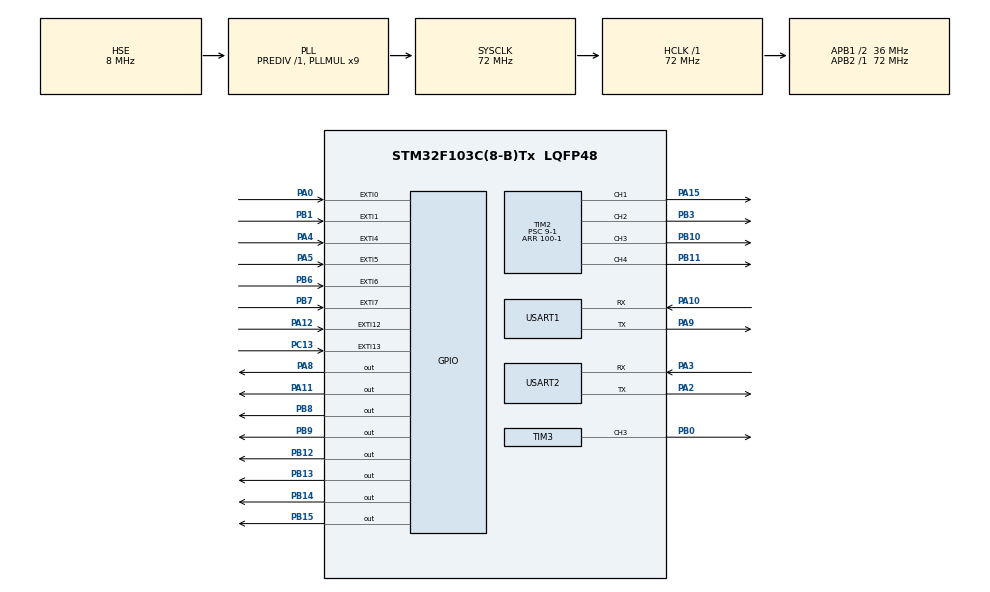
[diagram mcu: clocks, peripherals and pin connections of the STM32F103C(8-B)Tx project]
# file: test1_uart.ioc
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Dma.Request0=USART1_RX
Dma.Request1=USART1_TX
Dma.Request2=USART2_RX
Dma.Request3=USART2_TX
Dma.USART1_RX.0.Direction=DMA_PERIPH_TO_MEMORY
Dma.USART1_RX.0.Instance=DMA1_Channel5
Dma.USART1_RX.0.MemDataAlignment=DMA_MDATAALIGN_BYTE
Dma.USART1_RX.0.MemInc=DMA_MINC_ENABLE
Dma.USART1_RX.0.Mode=DMA_NORMAL
Dma.USART1_RX.0.PeriphDataAlignment=DMA_PDATAALIGN_BYTE
Dma.USART1_RX.0.PeriphInc=DMA_PINC_DISABLE
Dma.USART1_RX.0.Priority=DMA_PRIORITY_LOW
Dma.USART1_TX.1.Direction=DMA_MEMORY_TO_PERIPH
Dma.USART1_TX.1.Instance=DMA1_Channel4
Dma.USART1_TX.1.MemDataAlignment=DMA_MDATAALIGN_BYTE
Dma.USART1_TX.1.MemInc=DMA_MINC_ENABLE
Dma.USART1_TX.1.Mode=DMA_NORMAL
Dma.USART1_TX.1.PeriphDataAlignment=DMA_PDATAALIGN_BYTE
Dma.USART1_TX.1.PeriphInc=DMA_PINC_DISABLE
Dma.USART1_TX.1.Priority=DMA_PRIORITY_LOW
Dma.USART2_RX.2.Direction=DMA_PERIPH_TO_MEMORY
Dma.USART2_RX.2.Instance=DMA1_Channel6
Dma.USART2_RX.2.MemDataAlignment=DMA_MDATAALIGN_BYTE
Dma.USART2_RX.2.MemInc=DMA_MINC_ENABLE
Dma.USART2_RX.2.Mode=DMA_NORMAL
Dma.USART2_RX.2.PeriphDataAlignment=DMA_PDATAALIGN_BYTE
Dma.USART2_RX.2.PeriphInc=DMA_PINC_DISABLE
Dma.USART2_RX.2.Priority=DMA_PRIORITY_LOW
Dma.USART2_TX.3.Direction=DMA_MEMORY_TO_PERIPH
Dma.USART2_TX.3.Instance=DMA1_Channel7
Dma.USART2_TX.3.MemDataAlignment=DMA_MDATAALIGN_BYTE
Dma.USART2_TX.3.MemInc=DMA_MINC_ENABLE
Dma.USART2_TX.3.Mode=DMA_NORMAL
Dma.USART2_TX.3.PeriphDataAlignment=DMA_PDATAALIGN_BYTE
Dma.USART2_TX.3.PeriphInc=DMA_PINC_DISABLE
Dma.USART2_TX.3.Priority=DMA_PRIORITY_LOW
Mcu.Family=STM32F1
Mcu.Name=STM32F103C(8-B)Tx
Mcu.Package=LQFP48
NVIC.DMA1_Channel4_IRQn=true\:0\:0\:false\:false\:true\:false\:true
NVIC.DMA1_Channel5_IRQn=true\:0\:0\:false\:false\:true\:false\:true
NVIC.DMA1_Channel6_IRQn=true\:0\:0\:false\:false\:true\:false\:true
NVIC.DMA1_Channel7_IRQn=true\:0\:0\:false\:false\:true\:false\:true
NVIC.EXTI0_IRQn=true\:1\:0\:true\:false\:true\:true\:true
NVIC.EXTI15_10_IRQn=true\:1\:0\:true\:false\:true\:true\:true
NVIC.EXTI1_IRQn=true\:1\:0\:true\:false\:true\:true\:true
NVIC.EXTI4_IRQn=true\:1\:0\:true\:false\:true\:true\:true
NVIC.EXTI9_5_IRQn=true\:1\:0\:true\:false\:true\:true\:true
NVIC.PVD_IRQn=true\:0\:0\:false\:false\:true\:true\:true
NVIC.PriorityGroup=NVIC_PRIORITYGROUP_4
NVIC.RCC_IRQn=true\:0\:0\:false\:false\:true\:true\:false
NVIC.TIM1_BRK_IRQn=true\:0\:0\:false\:false\:true\:true\:true
NVIC.TIM1_CC_IRQn=true\:0\:0\:false\:false\:true\:true\:true
NVIC.TIM1_TRG_COM_IRQn=true\:0\:0\:false\:false\:true\:true\:true
NVIC.TIM1_UP_IRQn=true\:0\:0\:false\:false\:true\:true\:true
NVIC.TIM2_IRQn=true\:0\:0\:false\:false\:true\:true\:true
NVIC.TIM3_IRQn=true\:0\:0\:false\:false\:true\:true\:true
NVIC.TIM4_IRQn=true\:0\:0\:false\:false\:true\:true\:true
NVIC.USART1_IRQn=true\:0\:0\:true\:false\:true\:true\:true
NVIC.USART2_IRQn=true\:0\:0\:true\:false\:true\:true\:true
PA0-WKUP.Signal=GPXTI0
PA10.Mode=Asynchronous
PA10.Signal=USART1_RX
PA11.Signal=GPIO_Output
PA12.Signal=GPXTI12
PA13.Mode=Serial_Wire
PA13.Signal=SYS_JTMS-SWDIO
PA14.Mode=Serial_Wire
PA14.Signal=SYS_JTCK-SWCLK
PA15.Signal=S_TIM2_CH1_ETR
PA2.Mode=Asynchronous
PA2.Signal=USART2_TX
PA3.Mode=Asynchronous
PA3.Signal=USART2_RX
PA4.Signal=GPXTI4
PA5.Signal=GPXTI5
PA8.Signal=GPIO_Output
PA9.Mode=Asynchronous
PA9.Signal=USART1_TX
PB0.Signal=S_TIM3_CH3
PB1.Signal=GPXTI1
PB10.Signal=S_TIM2_CH3
PB11.Signal=S_TIM2_CH4
PB12.Signal=GPIO_Output
PB13.Signal=GPIO_Output
PB14.Signal=GPIO_Output
PB15.Signal=GPIO_Output
PB3.Signal=S_TIM2_CH2
PB6.Signal=GPXTI6
PB7.Signal=GPXTI7
PB8.Signal=GPIO_Output
PB9.Signal=GPIO_Output
PC13-TAMPER-RTC.Signal=GPXTI13
PD0-OSC_IN.Mode=HSE-External-Oscillator
PD0-OSC_IN.Signal=RCC_OSC_IN
PD1-OSC_OUT.Mode=HSE-External-Oscillator
PD1-OSC_OUT.Signal=RCC_OSC_OUT
ProjectManager.HeapSize=0x200
ProjectManager.StackSize=0x400
ProjectManager.TargetToolchain=MDK-ARM V5.32
RCC.AHBFreq_Value=72000000
RCC.APB1CLKDivider=RCC_HCLK_DIV2
RCC.APB1Freq_Value=36000000
RCC.APB1TimFreq_Value=72000000
RCC.APB2Freq_Value=72000000
RCC.APB2TimFreq_Value=72000000
RCC.HCLKFreq_Value=72000000
RCC.PLLMUL=RCC_PLL_MUL9
RCC.PLLSourceVirtual=RCC_PLLSOURCE_HSE
RCC.SYSCLKFreq_VALUE=72000000
RCC.SYSCLKSource=RCC_SYSCLKSOURCE_PLLCLK
RCC.USBFreq_Value=72000000
SH.S_TIM2_CH1_ETR.0=TIM2_CH1,PWM Generation1 CH1
SH.S_TIM2_CH2.0=TIM2_CH2,PWM Generation2 CH2
SH.S_TIM2_CH3.0=TIM2_CH3,PWM Generation3 CH3
SH.S_TIM2_CH4.0=TIM2_CH4,PWM Generation4 CH4
SH.S_TIM3_CH3.0=TIM3_CH3,PWM Generation3 CH3
TIM1.Period=5000-1
TIM1.Prescaler=720-1
TIM2.Channel-PWM\ Generation1\ CH1=TIM_CHANNEL_1
TIM2.Channel-PWM\ Generation2\ CH2=TIM_CHANNEL_2
TIM2.Channel-PWM\ Generation3\ CH3=TIM_CHANNEL_3
TIM2.Channel-PWM\ Generation4\ CH4=TIM_CHANNEL_4
TIM2.Period=100-1
TIM2.Prescaler=9-1
TIM3.Channel-PWM\ Generation3\ CH3=TIM_CHANNEL_3
TIM3.Period=2000-1
TIM3.Prescaler=720-1
TIM4.Period=1000-1
TIM4.Prescaler=720-1
USART1.VirtualMode=VM_ASYNC
USART2.VirtualMode=VM_ASYNC
VP_TIM1_VS_ClockSourceINT.Mode=Internal
VP_TIM2_VS_ClockSourceINT.Mode=Internal
VP_TIM3_VS_ClockSourceINT.Mode=Internal
VP_TIM4_VS_ClockSourceINT.Mode=Internal
board=custom

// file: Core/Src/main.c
/* USER CODE BEGIN Header */
/**
  ******************************************************************************
  * @file           : main.c
  * @brief          : Main program body
  ******************************************************************************
  * @attention
  *
  * <h2><center>&copy; Copyright (c) 2024 STMicroelectronics.
  * All rights reserved.</center></h2>
  *
  * This software component is licensed by ST under BSD 3-Clause license,
  * the "License"; You may not use this file except in compliance with the
  * License. You may obtain a copy of the License at:
  *                        opensource.org/licenses/BSD-3-Clause
  *
  ******************************************************************************
  */
/* USER CODE END Header */
#include "main.h"
#include "dma.h"
#include "tim.h"
#include "usart.h"
#include "gpio.h"

/* USER CODE BEGIN Includes */

#include "esp32.h"

#include "encode.h"

#include "pid.h"

#include "linear velocity.h"

#include "motor.h"

#include "setpwm.h"

#include "omega.h"

#include "gpu.h"
/* USER CODE END Includes */

void SystemClock_Config(void);

/* USER CODE BEGIN 0 */

usart_1 esp32_instance;

usart_1 *esp32=&esp32_instance;

usart_2 gpu_instance;

usart_2 *gpu=&gpu_instance;

uint8_t receive_data[20];

uint8_t gpu_data[20];

void HAL_UART_RxCpltCallback(UART_HandleTypeDef *huart)
{
 /* Prevent unused argument(s) compilation warning */
 if(huart->Instance==USART1)
	{
		if(receive_data[0]==0XA5&&receive_data[4]==0X5A)
		{
		Parse_esp32(esp32,receive_data);
		}else{
		HAL_NVIC_SystemReset();
		}
		HAL_UART_Receive_DMA(&huart1,receive_data,5);
	}
   if(huart->Instance==USART2)
	{
		if(gpu_data[0]==0XA5&&gpu_data[3]==0X5A)
		{

		Parse_gpu(gpu,gpu_data);

		}
		HAL_UART_Receive_DMA(&huart2,gpu_data,4);
	}
 /* NOTE: This function should not be modified, when the callback is needed,
          the HAL_UART_RxCpltCallback could be implemented in the user file
  */
}
uint8_t test_data[5]={0};

int32_t encoder_count[4]={0};

int32_t prev_encoder_count[4]={0};

int32_t delta_count[4];

IncrementalPID pid[4]={
	IncrementalPID(3.7f, 0.118f, 0.01f,-1900.0f, 1900.0f),
	IncrementalPID(2.7f, 1.2f, 0.01f,-1900.0f, 1900.0f),
	IncrementalPID(3.5f, 0.50f, 0.01f,-1900.0f, 1900.0f),
	IncrementalPID(2.0f, 0.1f, 0.05f, -1900.0f, 1900.0f)
};

FourWheelDrive car(300, 217, 1900); // 车长，轮距，最大速度，mm

float pwm_lf=0,pwm_rf=0,pwm_lr=0,pwm_rr=0;

float v_measured[4]={0};

float rps[4]={0};

// float steering_angle =PI/2;  //角度

float omega=5.5*((float)esp32_instance.location_x-100.0);

float linear_speed = 0;//;1700*((float)esp32_instance.location_y-100.0);  //线速度mm/s

float v_lf=0, v_rf=0, v_lr=0, v_rr=0; // 前后左右

void HAL_TIM_PeriodElapsedCallback(TIM_HandleTypeDef *htim)
{
    if (htim->Instance == TIM1)
			{
        for (int i = 0; i < 4; i++)
        {

            delta_count[i] = encoder_count[i] - prev_encoder_count[i];

            prev_encoder_count[i] = encoder_count[i]; // 更新计数值

            // 计算转速 (rps)
						rps[i]= (float)delta_count[i]/ (ENCODER_PPR * TIME_INTERVAL);

					  v_measured[i]=rps[i]*2*PI*34;

					// linear_speed = 17.0*(float)esp32_instance.z/20000;
        }
    }

		 if (htim->Instance == TIM4){

       //代表0.01s为时间间隔

	if(esp32_instance.UPPER==0){
				omega=5.50*((float)esp32_instance.location_x-100.0)/50;

				linear_speed = 1100.0*((float)esp32_instance.location_y-100.0)/50;  //线速度mm/s

	}else if(esp32_instance.UPPER==1){

				omega=gpu_instance.gpu_omega;

		    //上位机角度映射

				linear_speed=gpu_instance.gpu_linear;
		  //设初始线速度
	}
				car.computeWheelSpeeds(omega, linear_speed, v_lf, v_rf, v_lr, v_rr);

        pwm_lf= setpwm(pid[0],v_lf,v_measured[0],0,esp32);

        pwm_rf= setpwm(pid[1],v_rf,v_measured[1],1,esp32);

        pwm_lr= setpwm(pid[2],v_lr,v_measured[2],2,esp32);

        pwm_rr= setpwm(pid[3],v_rr,v_measured[3],3,esp32);

		 }

}

/* USER CODE END 0 */

int main(void)
{

  /* MCU Configuration--------------------------------------------------------*/

  /* Reset of all peripherals, Initializes the Flash interface and the Systick. */
  HAL_Init();

  /* Configure the system clock */
  SystemClock_Config();

  /* Initialize all configured peripherals */
  MX_GPIO_Init();
  MX_DMA_Init();
  MX_USART1_UART_Init();
  MX_TIM1_Init();
  MX_TIM2_Init();
  MX_TIM3_Init();
  MX_USART2_UART_Init();
  MX_TIM4_Init();
  /* USER CODE BEGIN 2 */

	HAL_UART_Receive_DMA(&huart1,receive_data,5);

	HAL_UART_Receive_DMA(&huart2,gpu_data,4);

	HAL_TIM_Base_Start_IT(&htim1);

	HAL_TIM_Base_Start_IT(&htim4);

	HAL_TIM_PWM_Start_IT(&htim2,TIM_CHANNEL_1);

	HAL_TIM_PWM_Start_IT(&htim2,TIM_CHANNEL_2);

	HAL_TIM_PWM_Start_IT(&htim2,TIM_CHANNEL_3);

	HAL_TIM_PWM_Start_IT(&htim2,TIM_CHANNEL_4);

	HAL_TIM_PWM_Start_IT(&htim3,TIM_CHANNEL_3);

  /* USER CODE END 2 */

  /* Infinite loop */
  /* USER CODE BEGIN WHILE */
  while (1)
  {

//

//				if(esp32_instance.LIFT)//全速前进
//		{
//		__HAL_TIM_SET_COMPARE(&htim2,TIM_CHANNEL_1,100);
//		__HAL_TIM_SET_COMPARE(&htim2,TIM_CHANNEL_2,100);
//		__HAL_TIM_SET_COMPARE(&htim2,TIM_CHANNEL_3,100);
//		__HAL_TIM_SET_COMPARE(&htim2,TIM_CHANNEL_4,100);
//		}
//		else if(esp32_instance.RIGHT)//右转
//		{
//		__HAL_TIM_SET_COMPARE(&htim2,TIM_CHANNEL_1,50);
//		__HAL_TIM_SET_COMPARE(&htim2,TIM_CHANNEL_2,0);
//		__HAL_TIM_SET_COMPARE(&htim2,TIM_CHANNEL_3,50);
//		__HAL_TIM_SET_COMPARE(&htim2,TIM_CHANNEL_4,0);
//		}
//		else if(esp32_instance.LEFT)//左转
//		{
//		__HAL_TIM_SET_COMPARE(&htim2,TIM_CHANNEL_1,0);
//		__HAL_TIM_SET_COMPARE(&htim2,TIM_CHANNEL_2,50);
//		__HAL_TIM_SET_COMPARE(&htim2,TIM_CHANNEL_3,0);
//		__HAL_TIM_SET_COMPARE(&htim2,TIM_CHANNEL_4,50);
//		}
//
//		else {
//      if(pwm_lf>=0){

//		int pwm_lf_set=pwm_lf;
//
//		__HAL_TIM_SET_COMPARE(&htim2,TIM_CHANNEL_1,pwm_lf_set);
//
//    AIN(1);

//		}else{
//
//		int pwm_lf_set=-pwm_lf;
//
//		__HAL_TIM_SET_COMPARE(&htim2,TIM_CHANNEL_1,pwm_lf_set);

//    AIN(-1);

//		}
//
//		if(pwm_rf>=0){

//			int pwm_rf_set=-pwm_rf;
//			BIN(1);

//			__HAL_TIM_SET_COMPARE(&htim2,TIM_CHANNEL_2,pwm_rf_set);

//		}else{

//			int pwm_rf_set=-pwm_rf;
//
//			BIN(-1);
//			__HAL_TIM_SET_COMPARE(&htim2,TIM_CHANNEL_2,pwm_rf_set);
//
//
//		}
//
//		if(pwm_lr>=0){
//
//					int	pwm_lr_set=pwm_lr;

//			CIN(1);
//
//			__HAL_TIM_SET_COMPARE(&htim2,TIM_CHANNEL_3,pwm_lr_set);
//
//		}else{
//
//			int pwm_lr_set=-pwm_lr;
//
//			__HAL_TIM_SET_COMPARE(&htim2,TIM_CHANNEL_3,pwm_lr_set);

//			CIN(-1);
//		}
//
//		if(pwm_rr>=0){

//			DIN(1);

//			int pwm_rr_set=pwm_rr;

//			__HAL_TIM_SET_COMPARE(&htim2,TIM_CHANNEL_4,pwm_rr_set);

//		}else{

//			int pwm_rr_set=-pwm_rr;

//			__HAL_TIM_SET_COMPARE(&htim2,TIM_CHANNEL_4,pwm_rr_set);

//			DIN(-1);

//		}
//    }

		steering(esp32);

    /* USER CODE END WHILE */

  }
}

void SystemClock_Config(void)
{
  RCC_OscInitTypeDef RCC_OscInitStruct = {0};
  RCC_ClkInitTypeDef RCC_ClkInitStruct = {0};

  /** Initializes the RCC Oscillators according to the specified parameters
  * in the RCC_OscInitTypeDef structure.
  */
  RCC_OscInitStruct.OscillatorType = RCC_OSCILLATORTYPE_HSE;
  RCC_OscInitStruct.HSEState = RCC_HSE_ON;
  RCC_OscInitStruct.HSEPredivValue = RCC_HSE_PREDIV_DIV1;
  RCC_OscInitStruct.HSIState = RCC_HSI_ON;
  RCC_OscInitStruct.PLL.PLLState = RCC_PLL_ON;
  RCC_OscInitStruct.PLL.PLLSource = RCC_PLLSOURCE_HSE;
  RCC_OscInitStruct.PLL.PLLMUL = RCC_PLL_MUL9;
  if (HAL_RCC_OscConfig(&RCC_OscInitStruct) != HAL_OK)
  {
    Error_Handler();
  }
  /** Initializes the CPU, AHB and APB buses clocks
  */
  RCC_ClkInitStruct.ClockType = RCC_CLOCKTYPE_HCLK|RCC_CLOCKTYPE_SYSCLK
                              |RCC_CLOCKTYPE_PCLK1|RCC_CLOCKTYPE_PCLK2;
  RCC_ClkInitStruct.SYSCLKSource = RCC_SYSCLKSOURCE_PLLCLK;
  RCC_ClkInitStruct.AHBCLKDivider = RCC_SYSCLK_DIV1;
  RCC_ClkInitStruct.APB1CLKDivider = RCC_HCLK_DIV2;
  RCC_ClkInitStruct.APB2CLKDivider = RCC_HCLK_DIV1;

  if (HAL_RCC_ClockConfig(&RCC_ClkInitStruct, FLASH_LATENCY_2) != HAL_OK)
  {
    Error_Handler();
  }
}

void Error_Handler(void)
{
  __disable_irq();
  while (1)
  {
  }
}

/************************ (C) COPYRIGHT STMicroelectronics *****END OF FILE****/
